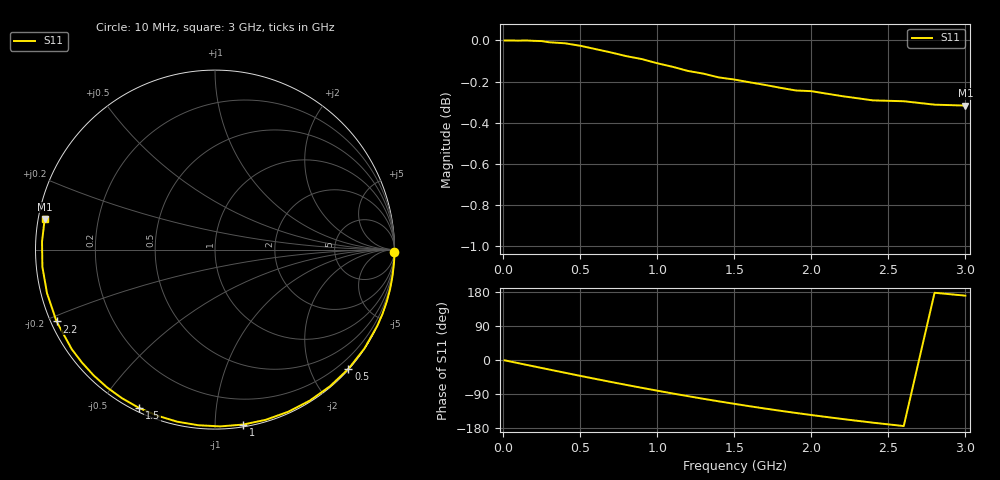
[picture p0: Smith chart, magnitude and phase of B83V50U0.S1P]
! SIEMENS Discrete & RF Semiconductors
! BBY53-03W
! Si Tuning Diode in SOD323
! VR = 3.5 V
! S-Parameters:  May  1997
# GHz  S  MA  R  50
!  f  S11
! GHz  MAG  ANG
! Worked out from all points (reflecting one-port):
!   30 points, 10 MHz to 3 GHz, reference 50 ohm
!   lowest |S11| = -0.3 dB at 3 GHz (marker M1), VSWR 54.88, Z = 0.918 + j4.46 ohm
!   phase of S11 starts at -1 deg and turns -189 deg over the sweep
!   S11 on the Smith chart (normalised r, x): 10 MHz: open; 500 MHz: 0.01, -2.62; 1 GHz: 0.02, -1.17; 1.5 GHz: 0.02, -0.63; 2.2 GHz: 0.02, -0.22; 3 GHz: 0.02, +0.09
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0.01  1 -0.9
0.1  0.9999 -8.4
0.15  1 -12.7
0.2  0.9998 -16.8
0.25  0.9996 -21.0
0.3  0.999 -25.2
0.4  0.9984 -33.5
0.5  0.997 -41.8
0.6  0.9952 -49.9
0.7  0.9933 -57.9
0.8  0.9912 -65.7
0.9  0.9896 -73.4
1  0.9873 -80.9
1.1  0.9854 -88.3
1.2  0.9831 -95.4
1.3  0.9816 -102.4
1.4  0.9795 -109.1
1.5  0.9784 -115.6
1.6  0.9768 -122.0
1.7  0.9754 -128.1
1.8  0.9738 -134.0
1.9  0.9724 -139.7
2  0.972 -145.2
2.2  0.9693 -155.6
2.4  0.967 -165.4
2.6  0.9666 -174.3
2.8  0.9647 177.4
3  0.9642 169.8
